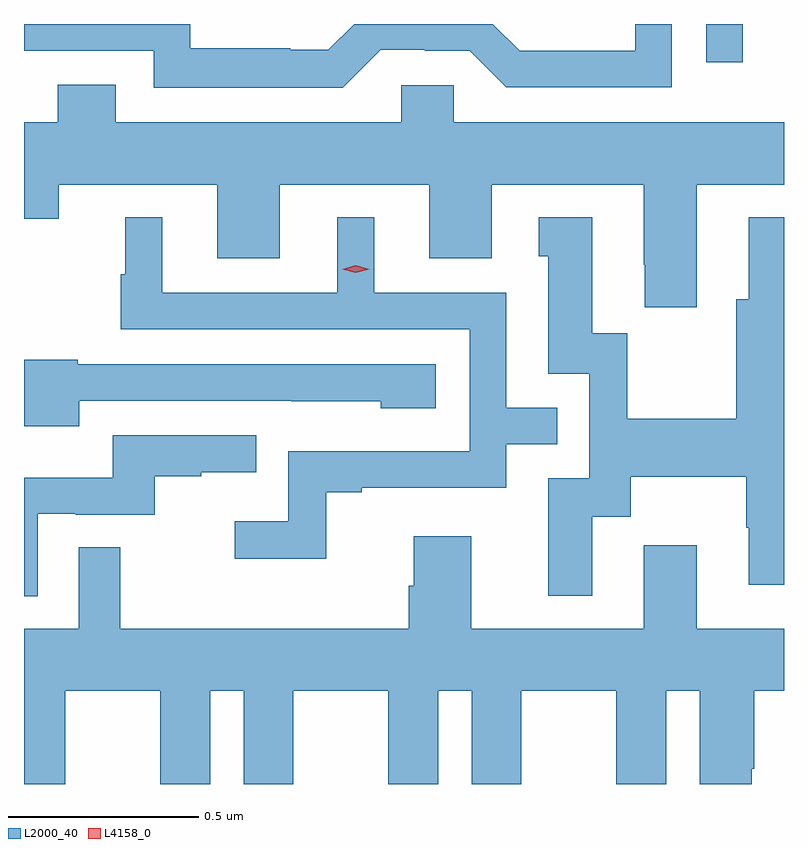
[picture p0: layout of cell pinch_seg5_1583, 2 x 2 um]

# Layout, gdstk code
import gdstk
lib = gdstk.Library(unit=1e-6, precision=1e-09)
def R(c, l, rs):  # rectangles x0, y0, x1, y1
    for r in rs: c.add(gdstk.rectangle(r[:2], r[2:], *l))
def P(c, l, *ps):  # polygons
    for p in ps: c.add(gdstk.Polygon(p, *l))
L2000_40 = (2000, 40)
L4158_0 = (4158, 0)

pinch_seg5_1583 = lib.new_cell('pinch_seg5_1583')
R(pinch_seg5_1583, L2000_40, [(263.953,845.094,264.049,845.195)])
P(pinch_seg5_1583, L2000_40, [(263.097,845.127),(263.213,845.127),(263.213,845.124),(263.331,845.124),(263.427,845.028),(263.862,845.028),(263.862,845.195),(263.766,845.195),(263.766,845.124),(263.463,845.124),(263.392,845.195),(263.027,845.195),(262.959,845.127),(262.859,845.127),(262.859,845.131),(262.596,845.131),(262.596,845.195),(262.158,845.195),(262.158,845.124),(262.5,845.124),(262.5,845.027),(262.997,845.027)],
  [(263.929,844.772),(264.158,844.772),(264.158,844.936),(263.289,844.936),(263.289,845.034),(263.151,845.034),(263.151,844.936),(262.399,844.936),(262.399,845.035),(262.247,845.035),(262.247,844.936),(262.158,844.936),(262.158,844.682),(262.249,844.682),(262.249,844.772),(262.667,844.772),(262.667,844.578),(262.831,844.578),(262.831,844.772),(263.225,844.772),(263.225,844.578),(263.389,844.578),(263.389,844.772),(263.789,844.772),(263.789,844.561),(263.791,844.561),(263.791,844.449),(263.929,844.449)],
  [(263.653,843.898),(263.755,843.898),(263.755,844.004),(264.058,844.004),(264.058,843.87),(264.065,843.87),(264.065,843.72),(264.158,843.72),(264.158,844.687),(264.065,844.687),(264.065,844.471),(264.032,844.471),(264.032,844.156),(263.746,844.156),(263.746,844.381),(263.653,844.381),(263.653,844.687),(263.513,844.687),(263.513,844.584),(263.537,844.584),(263.537,844.275),(263.646,844.275),(263.646,843.999),(263.537,843.999),(263.537,843.69),(263.653,843.69)],
  [(262.953,843.963),(263.047,843.963),(263.047,843.975),(263.427,843.975),(263.427,844.089),(263.561,844.089),(263.561,844.185),(263.427,844.185),(263.427,844.488),(263.08,844.488),(263.08,844.687),(262.982,844.687),(262.982,844.488),(262.522,844.488),(262.522,844.687),(262.424,844.687),(262.424,844.536),(262.413,844.536),(262.413,844.392),(263.331,844.392),(263.331,844.071),(262.854,844.071),(262.854,843.886),(262.713,843.886),(262.713,843.788),(262.953,843.788)],
  [(262.303,844.203),(262.861,844.203),(262.861,844.202),(263.097,844.202),(263.097,844.184),(263.242,844.184),(263.242,844.299),(262.299,844.299),(262.299,844.312),(262.158,844.312),(262.158,844.136),(262.303,844.136)],
  [(262.194,843.906),(262.294,843.906),(262.294,843.903),(262.502,843.903),(262.502,844.005),(262.625,844.005),(262.625,844.016),(262.769,844.016),(262.769,844.113),(262.392,844.113),(262.392,844.001),(262.158,844.001),(262.158,843.689),(262.194,843.689)],
  [(263.929,843.823),(263.789,843.823),(263.789,843.604),(263.335,843.604),(263.335,843.847),(263.183,843.847),(263.183,843.717),(263.171,843.717),(263.171,843.604),(262.411,843.604),(262.411,843.818),(262.302,843.818),(262.302,843.604),(262.158,843.604),(262.158,843.195),(262.267,843.195),(262.267,843.44),(262.517,843.44),(262.517,843.195),(262.648,843.195),(262.648,843.44),(262.736,843.44),(262.736,843.195),(262.867,843.195),(262.867,843.44),(263.117,843.44),(263.117,843.195),(263.248,843.195),(263.248,843.44),(263.336,843.44),(263.336,843.195),(263.467,843.195),(263.467,843.44),(263.717,843.44),(263.717,843.195),(263.848,843.195),(263.848,843.44),(263.936,843.44),(263.936,843.195),(264.073,843.195),(264.073,843.235),(264.08,843.235),(264.08,843.44),(264.158,843.44),(264.158,843.604),(263.929,843.604)])
P(pinch_seg5_1583, L4158_0, [(263.031,844.54),(262.995,844.55),(262.995,844.55),(262.995,844.55),(263.031,844.56),(263.067,844.55),(263.067,844.55),(263.067,844.55)])

lib.write_gds('pinch_seg5_1583.gds')
